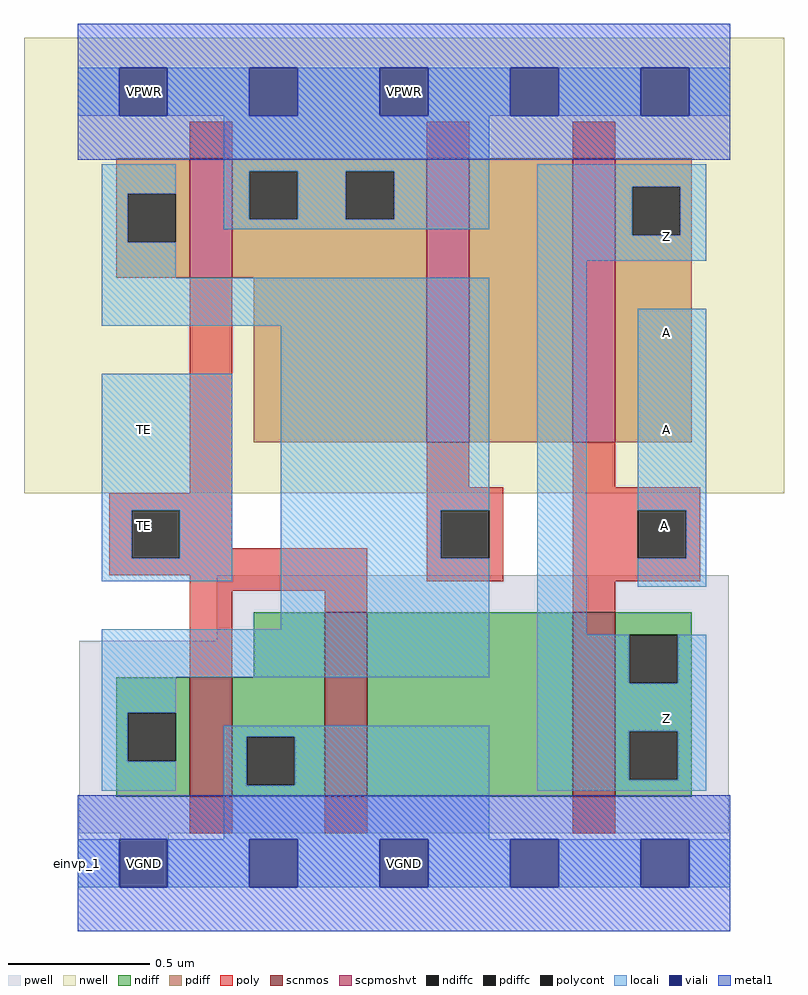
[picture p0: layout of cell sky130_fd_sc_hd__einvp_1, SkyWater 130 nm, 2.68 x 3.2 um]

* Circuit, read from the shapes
.subckt sky130_fd_sc_hd__einvp_1 A TE VGND VNB VPB VPWR Z
XM1 VGND TE n1 VNB sky130_fd_pr__nfet_01v8 w=0.42 l=0.15
XM2 n2 TE VGND VNB sky130_fd_pr__nfet_01v8 w=0.65 l=0.15
XM3 Z A n2 VNB sky130_fd_pr__nfet_01v8 w=0.65 l=0.15
XM4 VPWR TE n1 VPB sky130_fd_pr__pfet_01v8_hvt w=0.42 l=0.15
XM5 n3 n1 VPWR VPB sky130_fd_pr__pfet_01v8_hvt w=1 l=0.15
XM6 Z A n3 VPB sky130_fd_pr__pfet_01v8_hvt w=1 l=0.15
.ends

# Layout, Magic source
magic
tech sky130A
magscale 1 2
<< nwell >>
rect -38 261 498 582
<< pwell >>
rect 98 157 459 203
rect 1 21 459 157
rect 30 -17 64 21
<< scnmos >>
rect 79 47 109 131
rect 174 47 204 177
rect 349 47 379 177
<< scpmoshvt >>
rect 79 413 109 497
rect 246 297 276 497
rect 349 297 379 497
<< ndiff >>
rect 124 131 174 177
rect 27 106 79 131
rect 27 72 35 106
rect 69 72 79 106
rect 27 47 79 72
rect 109 89 174 131
rect 109 55 119 89
rect 153 55 174 89
rect 109 47 174 55
rect 204 47 349 177
rect 379 161 433 177
rect 379 127 389 161
rect 423 127 433 161
rect 379 93 433 127
rect 379 59 389 93
rect 423 59 433 93
rect 379 47 433 59
<< pdiff >>
rect 27 472 79 497
rect 27 438 35 472
rect 69 438 79 472
rect 27 413 79 438
rect 109 488 246 497
rect 109 454 121 488
rect 155 454 189 488
rect 223 454 246 488
rect 109 413 246 454
rect 124 297 246 413
rect 276 297 349 497
rect 379 477 433 497
rect 379 443 391 477
rect 425 443 433 477
rect 379 297 433 443
<< ndiffc >>
rect 35 72 69 106
rect 119 55 153 89
rect 389 127 423 161
rect 389 59 423 93
<< pdiffc >>
rect 35 438 69 472
rect 121 454 155 488
rect 189 454 223 488
rect 391 443 425 477
<< poly >>
rect 79 497 109 523
rect 246 497 276 523
rect 349 497 379 523
rect 79 261 109 413
rect 22 249 109 261
rect 22 215 38 249
rect 72 222 109 249
rect 246 265 276 297
rect 349 265 379 297
rect 246 249 300 265
rect 72 215 204 222
rect 22 203 204 215
rect 79 192 204 203
rect 246 215 256 249
rect 290 215 300 249
rect 246 199 300 215
rect 349 249 439 265
rect 349 215 395 249
rect 429 215 439 249
rect 349 199 439 215
rect 79 131 109 192
rect 174 177 204 192
rect 349 177 379 199
rect 79 21 109 47
rect 174 21 204 47
rect 349 21 379 47
<< polycont >>
rect 38 215 72 249
rect 256 215 290 249
rect 395 215 429 249
<< locali >>
rect 0 527 29 561
rect 63 527 121 561
rect 155 527 213 561
rect 247 527 305 561
rect 339 527 397 561
rect 431 527 460 561
rect 17 472 69 493
rect 17 438 35 472
rect 103 488 290 527
rect 103 454 121 488
rect 155 454 189 488
rect 223 454 290 488
rect 103 447 290 454
rect 324 477 443 493
rect 17 413 69 438
rect 324 443 391 477
rect 425 443 443 477
rect 324 425 443 443
rect 17 379 290 413
rect 17 249 109 345
rect 17 215 38 249
rect 72 215 109 249
rect 17 199 109 215
rect 143 249 290 379
rect 143 215 256 249
rect 143 165 290 215
rect 17 131 290 165
rect 324 161 359 425
rect 395 249 443 391
rect 429 215 443 249
rect 395 195 443 215
rect 17 106 69 131
rect 17 72 35 106
rect 324 127 389 161
rect 423 127 443 161
rect 17 51 69 72
rect 103 89 290 97
rect 103 55 119 89
rect 153 55 290 89
rect 103 17 290 55
rect 324 93 443 127
rect 324 59 389 93
rect 423 59 443 93
rect 324 51 443 59
rect 0 -17 29 17
rect 63 -17 121 17
rect 155 -17 213 17
rect 247 -17 305 17
rect 339 -17 397 17
rect 431 -17 460 17
<< viali >>
rect 29 527 63 561
rect 121 527 155 561
rect 213 527 247 561
rect 305 527 339 561
rect 397 527 431 561
rect 29 -17 63 17
rect 121 -17 155 17
rect 213 -17 247 17
rect 305 -17 339 17
rect 397 -17 431 17
<< metal1 >>
rect 0 561 460 592
rect 0 527 29 561
rect 63 527 121 561
rect 155 527 213 561
rect 247 527 305 561
rect 339 527 397 561
rect 431 527 460 561
rect 0 496 460 527
rect 0 17 460 48
rect 0 -17 29 17
rect 63 -17 121 17
rect 155 -17 213 17
rect 247 -17 305 17
rect 339 -17 397 17
rect 431 -17 460 17
rect 0 -48 460 -17
<< labels >>
flabel locali s 30 221 64 255 0 FreeSans 200 0 0 0 TE
port 2 nsew signal input
flabel locali s 30 289 64 323 0 FreeSans 200 0 0 0 TE
port 2 nsew signal input
flabel locali s 397 221 431 255 0 FreeSans 200 0 0 0 A
port 1 nsew signal input
flabel locali s 398 357 432 391 0 FreeSans 200 0 0 0 A
port 1 nsew signal input
flabel locali s 398 289 432 323 0 FreeSans 200 0 0 0 A
port 1 nsew signal input
flabel locali s 398 425 432 459 0 FreeSans 200 0 0 0 Z
port 7 nsew signal output
flabel locali s 398 85 432 119 0 FreeSans 200 0 0 0 Z
port 7 nsew signal output
flabel metal1 s 30 527 64 561 0 FreeSans 200 0 0 0 VPWR
port 6 nsew power bidirectional abutment
flabel metal1 s 30 -17 64 17 0 FreeSans 200 0 0 0 VGND
port 3 nsew ground bidirectional abutment
flabel nwell s 30 527 64 561 0 FreeSans 200 0 0 0 VPB
port 5 nsew power bidirectional
flabel pwell s 30 -17 64 17 0 FreeSans 200 0 0 0 VNB
port 4 nsew ground bidirectional
rlabel comment s 0 0 0 0 4 einvp_1
rlabel metal1 s 0 -48 460 48 1 VGND
port 3 nsew ground bidirectional abutment
rlabel metal1 s 0 496 460 592 1 VPWR
port 6 nsew power bidirectional abutment
<< properties >>
string FIXED_BBOX 0 0 460 544
string GDS_END 2024636
string GDS_FILE $PDKPATH/libs.ref/sky130_fd_sc_hd/gds/sky130_fd_sc_hd.gds
string GDS_START 2020124
string LEFclass CORE
string LEFsite unithd
string LEFsymmetry X Y R90
string path 0.000 0.000 11.500 0.000 
<< end >>
